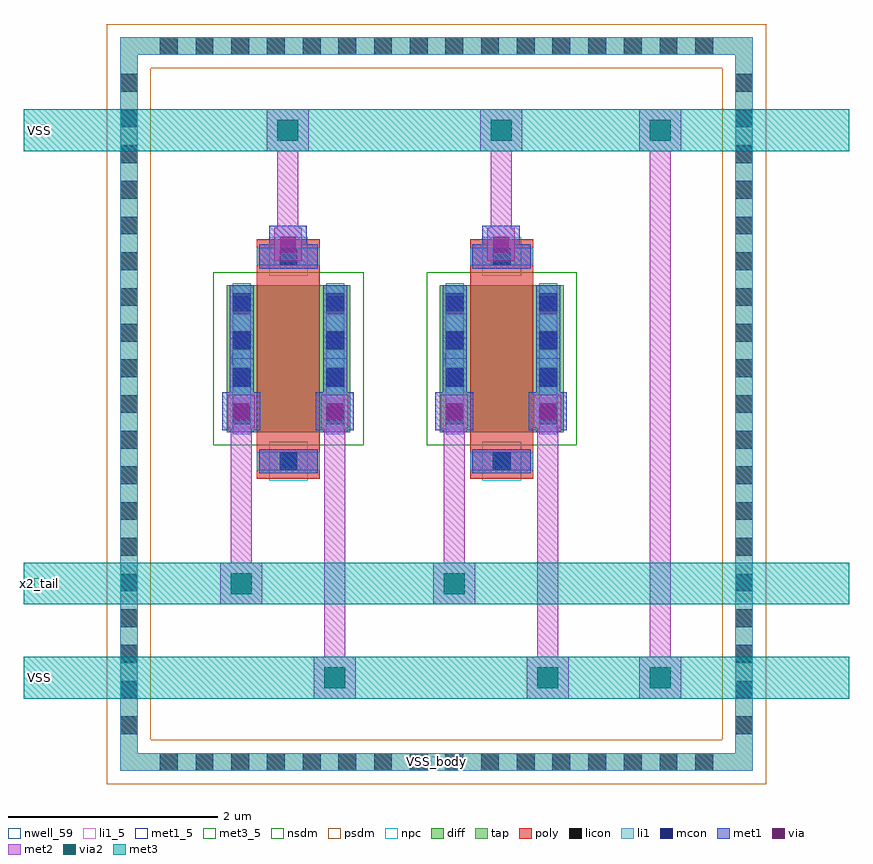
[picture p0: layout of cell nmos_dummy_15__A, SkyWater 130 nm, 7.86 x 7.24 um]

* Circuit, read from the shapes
.subckt nmos_dummy_15__A VSS VSS_body x2_tail
XM1 VSS VSS x2_tail VSS_body sky130_fd_pr__nfet_01v8 w=1.4 l=0.6 m=2
.ends

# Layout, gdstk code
import gdstk
lib = gdstk.Library(unit=1e-6, precision=1e-09)
def R(c, l, rs):  # rectangles x0, y0, x1, y1
    for r in rs: c.add(gdstk.rectangle(r[:2], r[2:], *l))
def A(c, l, x, y, w, h, nx, ny, dx, dy):  # array of equal rectangles
    R(c, l, [(x+i*dx, y+j*dy, x+i*dx+w, y+j*dy+h) for i in range(nx) for j in range(ny)])
nwell_59 = (64, 59)
diff = (65, 20)
tap = (65, 44)
poly = (66, 20)
licon = (66, 44)
li1_5 = (67, 5)
li1 = (67, 20)
mcon = (67, 44)
met1_5 = (68, 5)
met1 = (68, 20)
via = (68, 44)
met2 = (69, 20)
via2 = (69, 44)
met3_5 = (70, 5)
met3 = (70, 20)
nsdm = (93, 44)
psdm = (94, 20)
npc = (95, 20)

sky130_fd_pr__nfet_01v8_ = lib.new_cell('sky130_fd_pr__nfet_01v8_KCM6UP')
R(sky130_fd_pr__nfet_01v8_, diff, [(-0.59,-0.7,0.59,0.7)])
R(sky130_fd_pr__nfet_01v8_, poly, [(-0.3,-1.14,0.3,1.14)])
A(sky130_fd_pr__nfet_01v8_, licon, -0.53, -0.595, 0.17, 0.17, 1, 4, 0, 0.34)
A(sky130_fd_pr__nfet_01v8_, licon, 0.36, -0.595, 0.17, 0.17, 1, 4, 0, 0.34)
R(sky130_fd_pr__nfet_01v8_, licon, [(-0.085,-1.06,0.085,-0.89), (-0.085,0.89,0.085,1.06)])
R(sky130_fd_pr__nfet_01v8_, li1, [(-0.3,-1.06,0.3,-0.89), (-0.53,-0.72,-0.36,0.72), (0.36,-0.72,0.53,0.72), (-0.3,0.89,0.3,1.06)])
A(sky130_fd_pr__nfet_01v8_, mcon, -0.53, -0.625, 0.17, 0.17, 1, 4, 0, 0.36)
A(sky130_fd_pr__nfet_01v8_, mcon, 0.36, -0.625, 0.17, 0.17, 1, 4, 0, 0.36)
R(sky130_fd_pr__nfet_01v8_, mcon, [(-0.085,-1.06,0.085,-0.89), (-0.085,0.89,0.085,1.06)])
R(sky130_fd_pr__nfet_01v8_, met1, [(-0.28,-1.09,0.28,-0.86), (-0.56,-0.7,-0.33,0.7), (0.33,-0.7,0.56,0.7), (-0.28,0.86,0.28,1.09)])
R(sky130_fd_pr__nfet_01v8_, nsdm, [(-0.715,-0.825,0.715,0.825)])
R(sky130_fd_pr__nfet_01v8_, npc, [(-0.185,-1.16,0.185,-0.79), (-0.185,0.79,0.185,1.16)])
sky130_fd_pr__nfet_01v8_.add(gdstk.Label('D', (-0.445,0), layer=67, texttype=5))
sky130_fd_pr__nfet_01v8_.add(gdstk.Label('S', (0.445,0), layer=67, texttype=5))
sky130_fd_pr__nfet_01v8_.add(gdstk.Label('G', (0,0.975), layer=67, texttype=5))

nfet_01v8_w1p4_l0p6_m2__ = lib.new_cell('nfet_01v8_W1p4_L0p6_m2__nf1_gboth_sdfull_ng')
R(nfet_01v8_w1p4_l0p6_m2__, nwell_59, [(0.05,1.09,0.15,1.19)])
R(nfet_01v8_w1p4_l0p6_m2__, met1_5, [(0.03,1.14,0.26,1.34), (0.92,1.14,1.15,1.34), (0.31,2,0.87,2.23)])
R(nfet_01v8_w1p4_l0p6_m2__, met1, [(0.03,1.14,0.26,1.34), (0.92,1.14,1.15,1.34), (0.31,2,0.87,2.23)])
nfet_01v8_w1p4_l0p6_m2__.add(gdstk.Reference(sky130_fd_pr__nfet_01v8_, (0.59,1.14)))
nfet_01v8_w1p4_l0p6_m2__.add(gdstk.Label('D', (0.145,1.24), layer=68, texttype=5))
nfet_01v8_w1p4_l0p6_m2__.add(gdstk.Label('S', (1.035,1.24), layer=68, texttype=5))
nfet_01v8_w1p4_l0p6_m2__.add(gdstk.Label('G', (0.59,2.115), layer=68, texttype=5))
nfet_01v8_w1p4_l0p6_m2__.add(gdstk.Label('B', (0.1,1.14), layer=64, texttype=59))

nmos_dummy_15__a = lib.new_cell('nmos_dummy_15__A')
R(nmos_dummy_15__a, tap, [(-0.885,-2.785,5.145,-2.615), (-0.885,-2.615,-0.715,4.035), (4.975,-2.615,5.145,4.035), (-0.885,4.035,5.145,4.205)])
A(nmos_dummy_15__a, licon, -0.505, -2.785, 0.17, 0.17, 16, 2, 0.34, 6.82)
A(nmos_dummy_15__a, licon, -0.885, -2.435, 0.17, 0.17, 1, 19, 0, 0.34)
A(nmos_dummy_15__a, licon, 4.975, -2.435, 0.17, 0.17, 1, 19, 0, 0.34)
R(nmos_dummy_15__a, li1_5, [(2.08,-2.75,2.18,-2.65)])
R(nmos_dummy_15__a, li1, [(-0.885,-2.785,5.145,-2.615), (-0.885,-2.615,-0.715,4.035), (4.975,-2.615,5.145,4.035), (-0.885,4.035,5.145,4.205)])
R(nmos_dummy_15__a, met1, [(0.09,0.46,0.45,0.82), (0.98,0.46,1.34,0.82), (2.12,0.46,2.48,0.82), (3.01,0.46,3.37,0.82), (0.535,2.05,0.895,2.41), (2.565,2.05,2.925,2.41)])
R(nmos_dummy_15__a, via, [(0.195,0.565,0.345,0.715), (1.085,0.565,1.235,0.715), (2.225,0.565,2.375,0.715), (3.115,0.565,3.265,0.715), (0.64,2.155,0.79,2.305), (2.67,2.155,2.82,2.305)])
R(nmos_dummy_15__a, met2, [(0.96,-2.1,1.36,-1.7), (2.99,-2.1,3.39,-1.7), (4.06,-2.1,4.46,-1.7), (1.06,-1.7,1.26,0.48), (3.09,-1.7,3.29,0.48), (4.16,-1.7,4.36,3.12), (0.07,-1.2,0.47,-0.8), (2.1,-1.2,2.5,-0.8), (0.17,-0.8,0.37,0.48), (2.2,-0.8,2.4,0.48), (0.14,0.48,0.4,0.8), (1.03,0.48,1.29,0.8), (2.17,0.48,2.43,0.8), (3.06,0.48,3.32,0.8), (0.585,2.07,0.845,2.39), (2.615,2.07,2.875,2.39), (0.615,2.39,0.815,3.12), (2.645,2.39,2.845,3.12), (0.515,3.12,0.915,3.52), (2.545,3.12,2.945,3.52), (4.06,3.12,4.46,3.52)])
R(nmos_dummy_15__a, via2, [(1.06,-2,1.26,-1.8), (3.09,-2,3.29,-1.8), (4.16,-2,4.36,-1.8), (0.17,-1.1,0.37,-0.9), (2.2,-1.1,2.4,-0.9), (0.615,3.22,0.815,3.42), (2.645,3.22,2.845,3.42), (4.16,3.22,4.36,3.42)])
R(nmos_dummy_15__a, met3_5, [(-1.7,-1.95,-1.6,-1.85), (-1.7,-1.05,-1.6,-0.95), (-1.7,3.27,-1.6,3.37)])
R(nmos_dummy_15__a, met3, [(-1.8,-2.1,6.06,-1.7), (-1.8,-1.2,6.06,-0.8), (-1.8,3.12,6.06,3.52)])
R(nmos_dummy_15__a, psdm, [(-1.01,-2.91,5.27,-2.49), (-1.01,-2.49,-0.59,3.91), (4.85,-2.49,5.27,3.91), (-1.01,3.91,5.27,4.33)])
nmos_dummy_15__a.add(gdstk.Reference(nfet_01v8_w1p4_l0p6_m2__, (2.16,0)))
nmos_dummy_15__a.add(gdstk.Reference(nfet_01v8_w1p4_l0p6_m2__, (0.13,0)))
nmos_dummy_15__a.add(gdstk.Label('VSS', (-1.65,3.32), layer=70, texttype=5))
nmos_dummy_15__a.add(gdstk.Label('x2_tail', (-1.65,-1), layer=70, texttype=5))
nmos_dummy_15__a.add(gdstk.Label('VSS', (-1.65,-1.9), layer=70, texttype=5))
nmos_dummy_15__a.add(gdstk.Label('VSS_body', (2.13,-2.7), layer=67, texttype=5))

lib.write_gds('nmos_dummy_15__A.gds')
